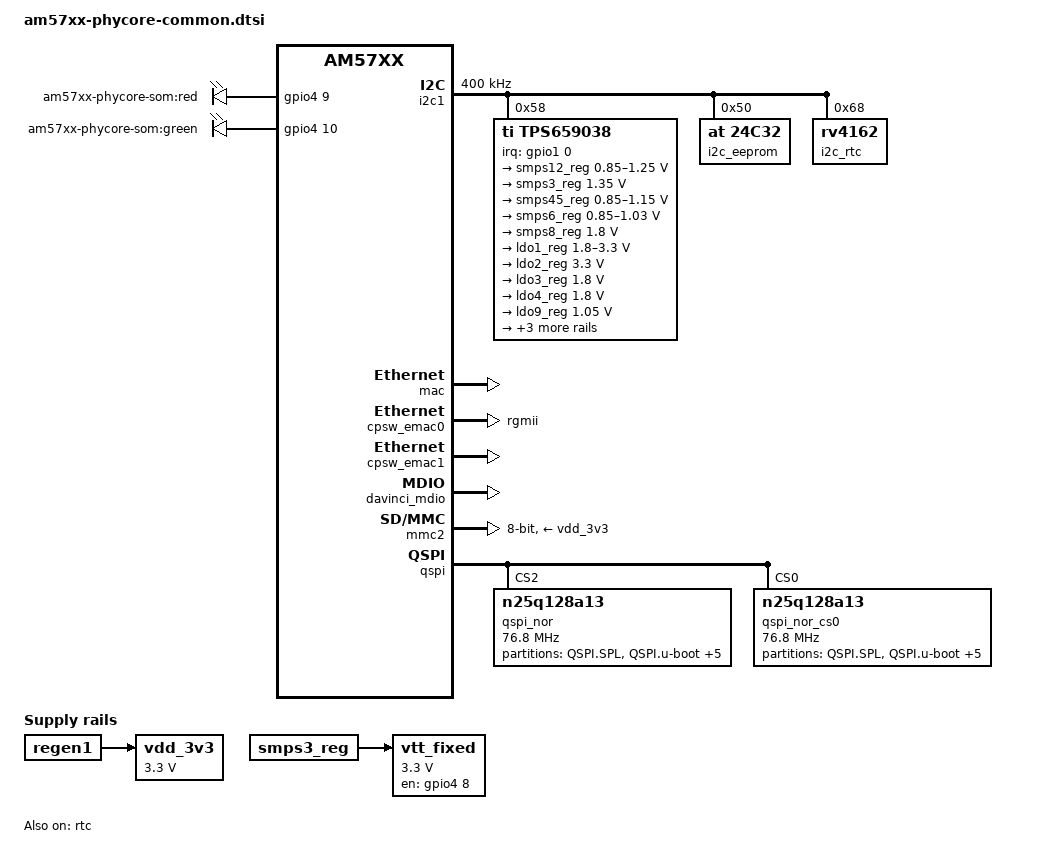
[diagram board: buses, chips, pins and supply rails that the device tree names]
/*
 * Copyright (C) 2018 PHYTEC America, LLC. - https://www.phytec.com
 *
 * This program is free software; you can redistribute it and/or modify
 * it under the terms of the GNU General Public License version 2 as
 * published by the Free Software Foundation.
 */
#include <dt-bindings/gpio/gpio.h>
#include <dt-bindings/interrupt-controller/irq.h>

/ {
	aliases {
		rtc0 = &rtc;
		rtc1 = &tps659038_rtc;
		rtc2 = &i2c_rtc;
	};

	vdd_3v3: fixedregulator-vdd_3v3 {
		compatible = "regulator-fixed";
		regulator-name = "vdd_3v3";
		vin-supply = <&regen1>;
		regulator-min-microvolt = <3300000>;
		regulator-max-microvolt = <3300000>;
	};

	vtt_fixed: fixedregulator-vtt {
		/* TPS51200 */
		compatible = "regulator-fixed";
		regulator-name = "vtt_fixed";
		vin-supply = <&smps3_reg>;
		regulator-min-microvolt = <3300000>;
		regulator-max-microvolt = <3300000>;
		regulator-always-on;
		regulator-boot-on;
		enable-active-high;
		gpio = <&gpio4 8 GPIO_ACTIVE_HIGH>;
	};

	phytec_leds: leds {
		compatible = "gpio-leds";
		pinctrl-names = "default", "sleep";
		pinctrl-0 = <&leds_som_pins_default>;
		pinctrl-1 = <&leds_som_pins_sleep>;

		led@0 {
			label = "am57xx-phycore-som:red";
			gpios = <&gpio4 9 GPIO_ACTIVE_HIGH>;
			linux,default-trigger = "heartbeat";
			default-state = "off";
		};

		led@1 {
			label = "am57xx-phycore-som:green";
			gpios = <&gpio4 10 GPIO_ACTIVE_HIGH>;
			linux,default-trigger = "cpu0";
			default-state = "off";
		};
	};
};

&dra7_pmx_core {
	leds_som_pins_default: leds_som_pins_default {
		pinctrl-single,pins = <
			0x188 (PIN_OUTPUT | MUX_MODE14)	/* vin2a_d8.gpio4_9 */
			0x18c (PIN_OUTPUT | MUX_MODE14)	/* vin2a_d9.gpio4_10 */
		>;
	};

	leds_som_pins_sleep: leds_som_pins_sleep {
		pinctrl-single,pins = <
			0x188 (PIN_INPUT_PULLDOWN | MUX_MODE15)
			0x18c (PIN_INPUT_PULLDOWN | MUX_MODE15)
		>;
	};

	i2c1_pins_default: i2c1_pins_default {
		pinctrl-single,pins = <
			0x400 (PIN_INPUT_PULLUP | MUX_MODE0)	/* i2c1_sda.sda */
			0x404 (PIN_INPUT_PULLUP | MUX_MODE0)	/* i2c1_scl.scl */
		>;
	};

	mmc2_pins_default: mmc2_pins_default {
		pinctrl-single,pins = <
			0x9c (PIN_INPUT_PULLUP | MUX_MODE1) /* gpmc_a23.mmc2_clk */
			0xb0 (PIN_INPUT_PULLUP | MUX_MODE1) /* gpmc_cs1.mmc2_cmd */
			0xa0 (PIN_INPUT_PULLUP | MUX_MODE1) /* gpmc_a24.mmc2_dat0 */
			0xa4 (PIN_INPUT_PULLUP | MUX_MODE1) /* gpmc_a25.mmc2_dat1 */
			0xa8 (PIN_INPUT_PULLUP | MUX_MODE1) /* gpmc_a26.mmc2_dat2 */
			0xac (PIN_INPUT_PULLUP | MUX_MODE1) /* gpmc_a27.mmc2_dat3 */
			0x8c (PIN_INPUT_PULLUP | MUX_MODE1) /* gpmc_a19.mmc2_dat4 */
			0x90 (PIN_INPUT_PULLUP | MUX_MODE1) /* gpmc_a20.mmc2_dat5 */
			0x94 (PIN_INPUT_PULLUP | MUX_MODE1) /* gpmc_a21.mmc2_dat6 */
			0x98 (PIN_INPUT_PULLUP | MUX_MODE1) /* gpmc_a22.mmc2_dat7 */
		>;
	};

	mmc2_pins_hs: mmc2_pins_hs {
		pinctrl-single,pins = <
			0x9c (PIN_INPUT_PULLUP | MUX_MODE1) /* gpmc_a23.mmc2_clk */
			0xb0 (PIN_INPUT_PULLUP | MUX_MODE1) /* gpmc_cs1.mmc2_cmd */
			0xa0 (PIN_INPUT_PULLUP | MUX_MODE1) /* gpmc_a24.mmc2_dat0 */
			0xa4 (PIN_INPUT_PULLUP | MUX_MODE1) /* gpmc_a25.mmc2_dat1 */
			0xa8 (PIN_INPUT_PULLUP | MUX_MODE1) /* gpmc_a26.mmc2_dat2 */
			0xac (PIN_INPUT_PULLUP | MUX_MODE1) /* gpmc_a27.mmc2_dat3 */
			0x8c (PIN_INPUT_PULLUP | MUX_MODE1) /* gpmc_a19.mmc2_dat4 */
			0x90 (PIN_INPUT_PULLUP | MUX_MODE1) /* gpmc_a20.mmc2_dat5 */
			0x94 (PIN_INPUT_PULLUP | MUX_MODE1) /* gpmc_a21.mmc2_dat6 */
			0x98 (PIN_INPUT_PULLUP | MUX_MODE1) /* gpmc_a22.mmc2_dat7 */
		>;
	};

	mmc2_pins_ddr_3_3v: mmc2_pins_ddr_3_3v {
		pinctrl-single,pins = <
			0x9c (PIN_INPUT_PULLUP | MODE_SELECT | MUX_MODE1) /* gpmc_a23.mmc2_clk */
			0xb0 (PIN_INPUT_PULLUP | MODE_SELECT | MUX_MODE1) /* gpmc_cs1.mmc2_cmd */
			0xa0 (PIN_INPUT_PULLUP | MODE_SELECT | MUX_MODE1) /* gpmc_a24.mmc2_dat0 */
			0xa4 (PIN_INPUT_PULLUP | MODE_SELECT | MUX_MODE1) /* gpmc_a25.mmc2_dat1 */
			0xa8 (PIN_INPUT_PULLUP | MODE_SELECT | MUX_MODE1) /* gpmc_a26.mmc2_dat2 */
			0xac (PIN_INPUT_PULLUP | MODE_SELECT | MUX_MODE1) /* gpmc_a27.mmc2_dat3 */
			0x8c (PIN_INPUT_PULLUP | MODE_SELECT | MUX_MODE1) /* gpmc_a19.mmc2_dat4 */
			0x90 (PIN_INPUT_PULLUP | MODE_SELECT | MUX_MODE1) /* gpmc_a20.mmc2_dat5 */
			0x94 (PIN_INPUT_PULLUP | MODE_SELECT | MUX_MODE1) /* gpmc_a21.mmc2_dat6 */
			0x98 (PIN_INPUT_PULLUP | MODE_SELECT | MUX_MODE1) /* gpmc_a22.mmc2_dat7 */
		>;
	};

	emac0_pins_default: emac0_pins_default {
		pinctrl-single,pins = <
			/* Slave 1 */
			0x250 (PIN_OUTPUT | MUX_MODE0)	/* rgmii1_tclk */
			0x254 (PIN_OUTPUT | MUX_MODE0)	/* rgmii1_tctl */
			0x258 (PIN_OUTPUT | MUX_MODE0)	/* rgmii1_td3 */
			0x25c (PIN_OUTPUT | MUX_MODE0)	/* rgmii1_td2 */
			0x260 (PIN_OUTPUT | MUX_MODE0)	/* rgmii1_td1 */
			0x264 (PIN_OUTPUT | MUX_MODE0)	/* rgmii1_td0 */
			0x268 (PIN_INPUT | MUX_MODE0)	/* rgmii1_rclk */
			0x26c (PIN_INPUT | MUX_MODE0)	/* rgmii1_rctl */
			0x270 (PIN_INPUT | MUX_MODE0)	/* rgmii1_rd3 */
			0x274 (PIN_INPUT | MUX_MODE0)	/* rgmii1_rd2 */
			0x278 (PIN_INPUT | MUX_MODE0)	/* rgmii1_rd1 */
			0x27c (PIN_INPUT | MUX_MODE0)	/* rgmii1_rd0 */
		>;

	};

	emac0_pins_sleep: emac0_pins_sleep {
		pinctrl-single,pins = <
			/* Slave 1 */
			0x250 (PIN_INPUT | MUX_MODE15)
			0x254 (PIN_INPUT | MUX_MODE15)
			0x258 (PIN_INPUT | MUX_MODE15)
			0x25c (PIN_INPUT | MUX_MODE15)
			0x260 (PIN_INPUT | MUX_MODE15)
			0x264 (PIN_INPUT | MUX_MODE15)
			0x268 (PIN_INPUT | MUX_MODE15)
			0x26c (PIN_INPUT | MUX_MODE15)
			0x270 (PIN_INPUT | MUX_MODE15)
			0x274 (PIN_INPUT | MUX_MODE15)
			0x278 (PIN_INPUT | MUX_MODE15)
			0x27c (PIN_INPUT | MUX_MODE15)
		>;
	};

	davinci_mdio_pins_default: davinci_mdio_pins_default {
		pinctrl-single,pins = <
			/* MDIO */
			0x23c (PIN_OUTPUT_PULLUP | MUX_MODE0)	/* mdio_mclk */
			0x240 (PIN_INPUT_PULLUP | MUX_MODE0)	/* mdio_d */
		>;
	};

	davinci_mdio_pins_sleep: davinci_mdio_pins_sleep {
		pinctrl-single,pins = <
			0x23c (PIN_INPUT | MUX_MODE15)
			0x240 (PIN_INPUT | MUX_MODE15)
		>;
	};

	tps659038_pins_default: tps659038_pins_default {
		pinctrl-single,pins = <
			0x418 (PIN_INPUT_PULLUP | MUX_MODE14)	/* wakeup0.gpio1_0 */
		>;
	};

	qspi1_pins_default: qspi1_pins_default {
		pinctrl-single,pins = <
			0x74 (PIN_INPUT | MODE_SELECT | MUX_MODE1)  /* gpmc_a13.qspi1_rtclk */
			0x78 (PIN_INPUT | MODE_SELECT | MUX_MODE1)  /* gpmc_a14.qspi1_d3 */
			0x7c (PIN_INPUT | MODE_SELECT | MUX_MODE1)  /* gpmc_a15.qspi1_d2 */
			0x80 (PIN_INPUT | MODE_SELECT | MUX_MODE1)  /* gpmc_a16.qspi1_d0 */
			0x84 (PIN_INPUT | MODE_SELECT | MUX_MODE1)  /* gpmc_a17.qspi1_d1 */
			0x88 (PIN_INPUT | MODE_SELECT | MUX_MODE1) /* gpmc_a18.qspi1_sclk */
		>;
	};

	qspi1_legacy_pins: qspi1_legacy_pins {
		pinctrl-single,pins = <
			0x78 (PIN_INPUT_PULLUP | MODE_SELECT | MUX_MODE1)  /* gpmc_a14.qspi1_d3 */
			0x7c (PIN_INPUT_PULLUP | MODE_SELECT | MUX_MODE1)  /* gpmc_a15.qspi1_d2 */
		>;
	};

	qspi1_cs0_pin: qspi1_cs0_pin {
		pinctrl-single,pins = <
			0xb8 (PIN_OUTPUT | MODE_SELECT | MUX_MODE1) /* gpmc_cs2.qspi1_cs0 */
		>;
	};

	qspi1_cs1_pin: qspi1_cs1_pin {
		pinctrl-single,pins = <
			0xbc (PIN_OUTPUT | MODE_SELECT | MUX_MODE1) /* gpmc_cs3.qspi1_cs1 */
		>;
	};

	qspi1_cs2_pin: qspi1_cs2_pin {
		pinctrl-single,pins = <
			0x4c (PIN_OUTPUT | MODE_SELECT | MUX_MODE1) /* gpmc_a3.qspi1_cs2 */
		>;
	};

	gpmc_nand_pins_default: gpmc_nand_pins_default {
		pinctrl-single,pins = <
			0x00 (PIN_INPUT_SLEW | MUX_MODE0)			/* gpmc_ad0 */
			0x04 (PIN_INPUT_SLEW | MUX_MODE0)			/* gpmc_ad1 */
			0x08 (PIN_INPUT_SLEW | MUX_MODE0)			/* gpmc_ad2 */
			0x0C (PIN_INPUT_SLEW | MUX_MODE0)			/* gpmc_ad3 */
			0x10 (PIN_INPUT_SLEW | MUX_MODE0)			/* gpmc_ad4 */
			0x14 (PIN_INPUT_SLEW | MUX_MODE0)			/* gpmc_ad5 */
			0x18 (PIN_INPUT_SLEW | MUX_MODE0)			/* gpmc_ad6 */
			0x1C (PIN_INPUT_SLEW | MUX_MODE0)			/* gpmc_ad7 */
			0xB4 (PIN_OUTPUT_PULLUP | SLEWCONTROL | MUX_MODE0)	/* gpmc_cs0 */
			0xC4 (PIN_OUTPUT | SLEWCONTROL | MUX_MODE0)		/* gpmc_advn_ale */
			0xC8 (PIN_OUTPUT | SLEWCONTROL | MUX_MODE0)		/* gpmc_oen_ren */
			0xCC (PIN_OUTPUT | SLEWCONTROL | MUX_MODE0)		/* gpmc_wen */
			0xD0 (PIN_OUTPUT | SLEWCONTROL | MUX_MODE0)		/* gpmc_ben0 */
			0xD8 (PIN_INPUT | MUX_MODE0)				/* gpmc_wait0 */
			0x16C (PIN_INPUT_PULLUP | MUX_MODE15)			/* vin2a_d1.off */
		>;
	};
};

&dra7_iodelay_core {
	mmc2_iodelay_ddr_3_3v_conf: mmc2_iodelay_ddr_3_3v_conf {
		pinctrl-pin-array = <
			0x18c A_DELAY_PS(0) G_DELAY_PS(120)   /* CFG_GPMC_A19_IN */
			0x190 A_DELAY_PS(0) G_DELAY_PS(0)     /* CFG_GPMC_A19_OEN */
			0x194 A_DELAY_PS(174) G_DELAY_PS(0)   /* CFG_GPMC_A19_OUT */
			0x1a4 A_DELAY_PS(265) G_DELAY_PS(360) /* CFG_GPMC_A20_IN */
			0x1a8 A_DELAY_PS(0) G_DELAY_PS(0)     /* CFG_GPMC_A20_OEN */
			0x1ac A_DELAY_PS(168) G_DELAY_PS(0)   /* CFG_GPMC_A20_OUT */
			0x1b0 A_DELAY_PS(0) G_DELAY_PS(120)   /* CFG_GPMC_A21_IN */
			0x1b4 A_DELAY_PS(0) G_DELAY_PS(0)     /* CFG_GPMC_A21_OEN */
			0x1b8 A_DELAY_PS(136) G_DELAY_PS(0)   /* CFG_GPMC_A21_OUT */
			0x1bc A_DELAY_PS(0) G_DELAY_PS(120)   /* CFG_GPMC_A22_IN */
			0x1c0 A_DELAY_PS(0) G_DELAY_PS(0)     /* CFG_GPMC_A22_OEN */
			0x1c4 A_DELAY_PS(0) G_DELAY_PS(0)     /* CFG_GPMC_A22_OUT */
			0x1c8 A_DELAY_PS(287) G_DELAY_PS(420) /* CFG_GPMC_A23_IN */
			0x1d0 A_DELAY_PS(879) G_DELAY_PS(0)   /* CFG_GPMC_A23_OUT */
			0x1d4 A_DELAY_PS(144) G_DELAY_PS(240) /* CFG_GPMC_A24_IN */
			0x1d8 A_DELAY_PS(0) G_DELAY_PS(0)     /* CFG_GPMC_A24_OEN */
			0x1dc A_DELAY_PS(0) G_DELAY_PS(0)     /* CFG_GPMC_A24_OUT */
			0x1e0 A_DELAY_PS(0) G_DELAY_PS(0)     /* CFG_GPMC_A25_IN */
			0x1e4 A_DELAY_PS(0) G_DELAY_PS(0)     /* CFG_GPMC_A25_OEN */
			0x1e8 A_DELAY_PS(34) G_DELAY_PS(0)    /* CFG_GPMC_A25_OUT */
			0x1ec A_DELAY_PS(0) G_DELAY_PS(120)   /* CFG_GPMC_A26_IN */
			0x1f0 A_DELAY_PS(0) G_DELAY_PS(0)     /* CFG_GPMC_A26_OEN */
			0x1f4 A_DELAY_PS(120) G_DELAY_PS(0)   /* CFG_GPMC_A26_OUT */
			0x1f8 A_DELAY_PS(120) G_DELAY_PS(180) /* CFG_GPMC_A27_IN */
			0x1fc A_DELAY_PS(0) G_DELAY_PS(0)     /* CFG_GPMC_A27_OEN */
			0x200 A_DELAY_PS(0) G_DELAY_PS(0)     /* CFG_GPMC_A27_OUT */
			0x360 A_DELAY_PS(0) G_DELAY_PS(0)     /* CFG_GPMC_CS1_IN */
			0x364 A_DELAY_PS(0) G_DELAY_PS(0)     /* CFG_GPMC_CS1_OEN */
			0x368 A_DELAY_PS(11) G_DELAY_PS(0)    /* CFG_GPMC_CS1_OUT */
		>;
	};

	qspi1_iodelay_conf: qspi1_iodelay_conf {
		pinctrl-pin-array = <
			0x144 A_DELAY_PS(0) G_DELAY_PS(0)       /* CFG_GPMC_A13_IN */
			0x150 A_DELAY_PS(2575) G_DELAY_PS(966)  /* CFG_GPMC_A14_IN */
			0x15c A_DELAY_PS(2503) G_DELAY_PS(889)  /* CFG_GPMC_A15_IN */
			0x168 A_DELAY_PS(2528) G_DELAY_PS(1007) /* CFG_GPMC_A16_IN */
			0x170 A_DELAY_PS(0) G_DELAY_PS(0)       /* CFG_GPMC_A16_OUT */
			0x174 A_DELAY_PS(2533) G_DELAY_PS(980)  /* CFG_GPMC_A17_IN */
			0x188 A_DELAY_PS(590) G_DELAY_PS(0)     /* CFG_GPMC_A18_OUT */
			0x218 A_DELAY_PS(114) G_DELAY_PS(0)     /* CFG_GPMC_A3_OUT */
			0x374 A_DELAY_PS(0) G_DELAY_PS(0)       /* CFG_GPMC_CS2_OUT */
			0x380 A_DELAY_PS(70) G_DELAY_PS(0)      /* CFG_GPMC_CS3_OUT */
		>;
	};

};

&i2c1 {
	status = "okay";
	pinctrl-names = "default";
	pinctrl-0 = <&i2c1_pins_default>;
	clock-frequency = <400000>;

	tps659038: tps659038@58 {
		compatible = "ti,tps659038";
		reg = <0x58>;

		pinctrl-names = "default";
		pinctrl-0 = <&tps659038_pins_default>;

		interrupt-parent = <&gpio1>;
		interrupts = <0 IRQ_TYPE_LEVEL_LOW>;

		#interrupt-cells = <2>;
		interrupt-controller;

		ti,system-power-controller;

		tps659038_pmic {
			compatible = "ti,tps659038-pmic";

			regulators {
				smps12_reg: smps12 {
					/* VDD_MPU */
					regulator-name = "smps12";
					regulator-min-microvolt = <850000>;
					regulator-max-microvolt = <1250000>;
					regulator-always-on;
					regulator-boot-on;
				};

				smps3_reg: smps3 {
					/* VDD_DDR */
					regulator-name = "smps3";
					regulator-min-microvolt = <1350000>;
					regulator-max-microvolt = <1350000>;
					regulator-always-on;
					regulator-boot-on;
				};

				smps45_reg: smps45 {
					/* VDD_DSPEVE, VDD_IVA, VDD_GPU */
					regulator-name = "smps45";
					regulator-min-microvolt = <850000>;
					regulator-max-microvolt = <1150000>;
					regulator-always-on;
					regulator-boot-on;
				};

				smps6_reg: smps6 {
					/* VDD_CORE */
					regulator-name = "smps6";
					regulator-min-microvolt = <850000>;
					regulator-max-microvolt = <1030000>;
					regulator-always-on;
					regulator-boot-on;
				};

				/* SMPS7 unused */

				smps8_reg: smps8 {
					/* VDD_1V8 */
					regulator-name = "smps8";
					regulator-min-microvolt = <1800000>;
					regulator-max-microvolt = <1800000>;
					regulator-always-on;
					regulator-boot-on;
				};

				/* SMPS9 unused */

				ldo1_reg: ldo1 {
					/* VDD_SD / VDDSHV8  */
					regulator-name = "ldo1";
					regulator-min-microvolt = <1800000>;
					regulator-max-microvolt = <3300000>;
					regulator-always-on;
					regulator-boot-on;
				};

				ldo2_reg: ldo2 {
					/* VDD_SHV5 */
					regulator-name = "ldo2";
					regulator-min-microvolt = <3300000>;
					regulator-max-microvolt = <3300000>;
					regulator-always-on;
					regulator-boot-on;
				};

				ldo3_reg: ldo3 {
					/* VDDA_1V8_PHYA */
					regulator-name = "ldo3";
					regulator-min-microvolt = <1800000>;
					regulator-max-microvolt = <1800000>;
					regulator-always-on;
					regulator-boot-on;
				};

				ldo4_reg: ldo4 {
					/* VDDA_1V8_PHYB */
					regulator-name = "ldo4";
					regulator-min-microvolt = <1800000>;
					regulator-max-microvolt = <1800000>;
					regulator-always-on;
					regulator-boot-on;
				};

				ldo9_reg: ldo9 {
					/* VDD_RTC */
					regulator-name = "ldo9";
					regulator-min-microvolt = <1050000>;
					regulator-max-microvolt = <1050000>;
					regulator-always-on;
					regulator-boot-on;
				};

				ldoln_reg: ldoln {
					/* VDDA_1V8_PLL */
					regulator-name = "ldoln";
					regulator-min-microvolt = <1800000>;
					regulator-max-microvolt = <1800000>;
					regulator-always-on;
					regulator-boot-on;
				};

				ldousb_reg: ldousb {
					/* VDDA_3V_USB: VDDA_USBHS33 */
					regulator-name = "ldousb";
					regulator-min-microvolt = <3300000>;
					regulator-max-microvolt = <3300000>;
					regulator-boot-on;
				};

				regen1: regen1 {
					/* VDD_3V3_ON */
					regulator-name = "regen1";
					regulator-boot-on;
					regulator-always-on;
				};
			};
		};

		tps659038_pwr_button: tps659038_pwr_button {
			compatible = "ti,palmas-pwrbutton";
			interrupt-parent = <&tps659038>;
			interrupts = <1 IRQ_TYPE_EDGE_FALLING>;
			wakeup-source;
			ti,palmas-long-press-seconds = <12>;
		};

		tps659038_rtc: tps659038_rtc {
			status = "okay";
			compatible = "ti,palmas-rtc";
			interrupt-parent = <&tps659038>;
			interrupts = <8 IRQ_TYPE_EDGE_FALLING>;
			wakeup-source;
		};
	};

	i2c_eeprom: eeprom@50 {
		status = "okay";
		compatible = "at,24c32";
		reg = <0x50>;
		pagesize = <32>;
	};

	i2c_rtc: rtc@68 {
		status = "okay";
		compatible = "rv4162";
		reg = <0x68>;
	};
};

&gpio4 {
	ti,no-reset-on-init;
	ti,no-idle-on-init;
};

&cpu0 {
	cpu0-supply = <&smps12_reg>;
	voltage-tolerance = <1>;
};

&mac {
	status = "okay";
	slaves = <1>;
	pinctrl-names = "default", "sleep";
	pinctrl-0 = <&emac0_pins_default>;
	pinctrl-1 = <&emac0_pins_sleep>;
};

&cpsw_emac0 {
	phy_id = <&davinci_mdio>, <1>;
	phy-mode = "rgmii";
	dual_emac_res_vlan = <1>;
	status = "okay";
};

&cpsw_emac1 {
	status = "okay";
};

&davinci_mdio {
	pinctrl-names = "default", "sleep";
	pinctrl-0 = <&davinci_mdio_pins_default>;
	pinctrl-1 = <&davinci_mdio_pins_sleep>;
	status = "okay";
};

&mmc2 {
	status = "okay";

	pinctrl-names = "default", "hs", "ddr_1_8v";
	pinctrl-0 = <&mmc2_pins_default>;
	pinctrl-1 = <&mmc2_pins_hs>;
	pinctrl-2 = <&mmc2_pins_ddr_3_3v &mmc2_iodelay_ddr_3_3v_conf>;

	vmmc-supply = <&vdd_3v3>;
	bus-width = <8>;
	iov = <3300000>;
	ti,non-removable;
	cap-mmc-dual-data-rate;
	max-frequency = <96000000>;
	no-1-8-v;
	/delete-property/ mmc-hs200-1_8v;
};

&qspi {
	status = "okay";

	pinctrl-names = "default";
	pinctrl-0 = <&qspi1_pins_default &qspi1_iodelay_conf>;

	spi-max-frequency = <76800000>;

	/* .3 and older PCB has QSPI NOR populated on
	 * CS2, cannot support more than SPI-DIO mode,
	 * and requires internal pull-ups on D2/D3
	 */
	qspi_nor: m25p80@2 {
		status = "okay";

		pinctrl-names = "default";
		pinctrl-0 = <&qspi1_legacy_pins &qspi1_cs2_pin>;
		compatible = "n25q128a13", "jedec,spi-flash";

		reg = <2>;
		spi-max-frequency = <76800000>;
		spi-tx-bus-width = <1>;
		spi-rx-bus-width = <2>;
		#address-cells = <1>;
		#size-cells = <1>;

		/* MTD partition table.
		 * The ROM checks the first four physical blocks
		 * for a valid file to boot and the flash here is
		 * 64KiB block size.
		 */
		partition@0 {
			label = "QSPI.SPL";
			reg = <0x00000000 0x000040000>;
		};
		partition@1 {
			label = "QSPI.u-boot";
			reg = <0x00040000 0x00100000>;
		};
		partition@2 {
			label = "QSPI.u-boot-spl-os";
			reg = <0x00140000 0x00080000>;
		};
		partition@3 {
			label = "QSPI.u-boot-env";
			reg = <0x001c0000 0x00010000>;
		};
		partition@4 {
			label = "QSPI.u-boot-env.backup1";
			reg = <0x001d0000 0x0010000>;
		};
		partition@5 {
			label = "QSPI.kernel";
			reg = <0x001e0000 0x0800000>;
		};
		partition@6 {
			label = "QSPI.file-system";
			reg = <0x009e0000 0x0>;
		};
	};


	qspi_nor_cs0: m25p80@0 {
		status = "okay";

		pinctrl-names = "default";
		pinctrl-0 = <&qspi1_cs0_pin>;
		compatible = "n25q128a13", "jedec,spi-flash";

		reg = <0>;
		spi-max-frequency = <76800000>;
		spi-tx-bus-width = <1>;
		spi-rx-bus-width = <4>;
		#address-cells = <1>;
		#size-cells = <1>;

		/* MTD partition table.
		 * The ROM checks the first four physical blocks
		 * for a valid file to boot and the flash here is
		 * 64KiB block size.
		 */
		partition@0 {
			label = "QSPI.SPL";
			reg = <0x00000000 0x000040000>;
		};
		partition@1 {
			label = "QSPI.u-boot";
			reg = <0x00040000 0x00100000>;
		};
		partition@2 {
			label = "QSPI.u-boot-spl-os";
			reg = <0x00140000 0x00080000>;
		};
		partition@3 {
			label = "QSPI.u-boot-env";
			reg = <0x001c0000 0x00010000>;
		};
		partition@4 {
			label = "QSPI.u-boot-env.backup1";
			reg = <0x001d0000 0x0010000>;
		};
		partition@5 {
			label = "QSPI.kernel";
			reg = <0x001e0000 0x0800000>;
		};
		partition@6 {
			label = "QSPI.file-system";
			reg = <0x009e0000 0x0>;
		};
	};
};

&gpmc {
	status = "disabled";
	pinctrl-names = "default";
	pinctrl-0 = <&gpmc_nand_pins_default>;

	ranges = <0 0 0x08000000 0x01000000>;		/* minimum GPMC partition = 16MB */

	nand@0,0 {
		compatible = "ti,omap2-nand";
		reg = <0 0 4>;				/* device IO registers */
		interrupt-parent = <&gpmc>;
		interrupts = <0 IRQ_TYPE_NONE>,		/* fifoevent */
			<1 IRQ_TYPE_NONE>;		/* termcount */
		rb-gpios = <&gpmc 0 GPIO_ACTIVE_HIGH>;	/* gpmc_wait0 pin */

		/* Settings for Micron MT29F8G08ABACAWP 1GB NAND */
		ti,nand-ecc-opt = "bch16";
		ti,elm-id = <&elm>;
		nand-bus-width = <8>;
		gpmc,device-width = <1>;
		gpmc,sync-clk-ps = <0>;
		gpmc,cs-on-ns = <0>;
		gpmc,cs-rd-off-ns = <35>;
		gpmc,cs-wr-off-ns = <25>;
		gpmc,adv-on-ns = <0>;
		gpmc,adv-rd-off-ns = <35>;
		gpmc,adv-wr-off-ns = <25>;
		gpmc,we-on-ns = <0>;
		gpmc,we-off-ns = <15>;
		gpmc,oe-on-ns = <15>;
		gpmc,oe-off-ns = <30>;
		gpmc,access-ns = <35>;
		gpmc,wr-access-ns = <25>;
		gpmc,rd-cycle-ns = <35>;
		gpmc,wr-cycle-ns = <25>;
		gpmc,bus-turnaround-ns = <0>;
		gpmc,cycle2cycle-delay-ns = <0>;
		gpmc,clk-activation-ns = <0>;
		gpmc,wr-data-mux-bus-ns = <0>;

		/* MTD partition table for 1GB NAND */
		#address-cells = <1>;
		#size-cells = <1>;
		partition@0 {
			label = "NAND.SPL";
			reg = <0x00000000 0x00040000>;
		};
		partition@1 {
			label = "NAND.SPL.backup1";
			reg = <0x00040000 0x00040000>;
		};
		partition@2 {
			label = "NAND.SPL.backup2";
			reg = <0x00080000 0x00040000>;
		};
		partition@3 {
			label = "NAND.SPL.backup3";
			reg = <0x000C0000 0x00040000>;
		};
		partition@4 {
			label = "NAND.u-boot";
			reg = <0x00100000 0x00200000>;
		};
		partition@5 {
			label = "NAND.u-boot-env";
			reg = <0x00300000 0x00040000>;
		};
		partition@6 {
			label = "NAND.file-system";
			reg = <0x00340000 0>;
		};
	};
};

&rtc {
	status = "okay";
};

&cpu_alert0 {
	temperature = <90000>;
};

&cpu_crit {
	temperature = <105000>;
};

&core_crit {
	temperature = <105000>;
};

&gpu_crit {
	temperature = <105000>;
};
